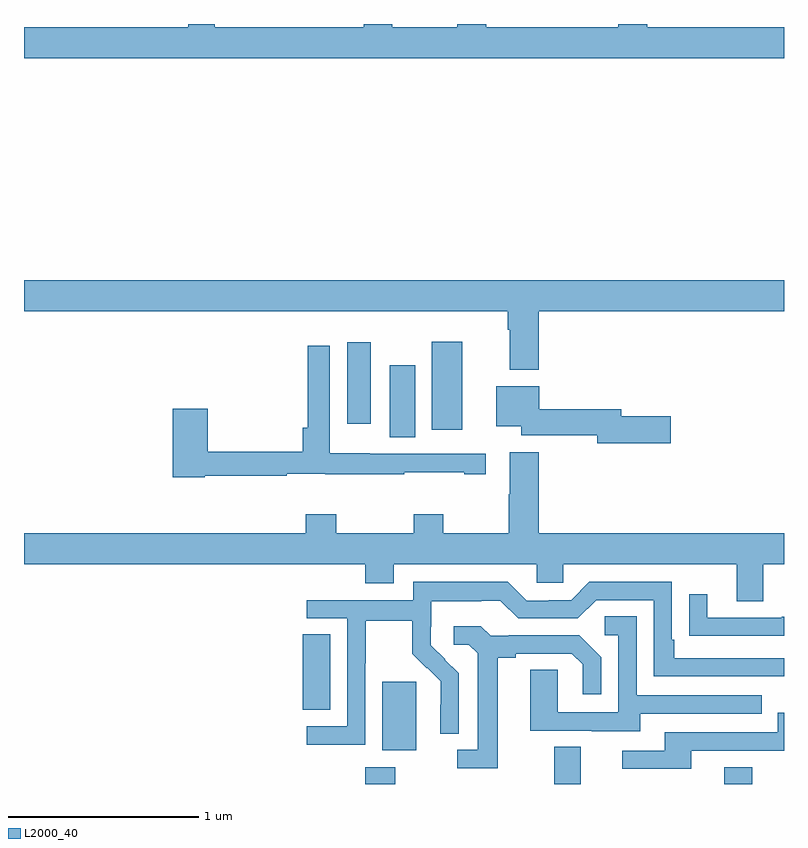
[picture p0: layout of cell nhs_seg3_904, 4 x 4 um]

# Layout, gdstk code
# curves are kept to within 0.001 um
import gdstk
lib = gdstk.Library(unit=1e-6, precision=1e-09)
def R(c, l, rs):  # rectangles x0, y0, x1, y1
    for r in rs: c.add(gdstk.rectangle(r[:2], r[2:], *l))
def P(c, l, *ps):  # polygons
    for p in ps: c.add(gdstk.Polygon(p, *l))
L2000_40 = (2000, 40)

nhs_seg3_904 = lib.new_cell('nhs_seg3_904')
R(nhs_seg3_904, L2000_40, [(158.795,726.4,158.955,726.487), (159.791,726.4,159.931,726.596), (160.685,726.4,160.833,726.487), (158.885,726.578,159.064,726.939), (158.468,726.79,158.611,727.187), (158.924,728.224,159.058,728.605), (159.146,728.265,159.307,728.728), (158.702,728.295,158.824,728.725)])
P(nhs_seg3_904, L2000_40, [(161,730.384),(160.279,730.384),(160.279,730.4),(160.127,730.4),(160.127,730.384),(159.434,730.384),(159.434,730.4),(159.281,730.4),(159.281,730.384),(158.937,730.384),(158.937,730.4),(158.789,730.4),(158.789,730.384),(158.005,730.384),(158.005,730.4),(157.865,730.4),(157.865,730.384),(157,730.384),(157,730.22),(161,730.22)],
  [(159.71,728.888),(161,728.888),(161,729.052),(157,729.052),(157,728.888),(159.545,728.888),(159.545,728.792),(159.557,728.792),(159.557,728.579),(159.71,728.579)],
  [(157.95,728.022),(158.384,728.022),(158.384,728.033),(158.586,728.033),(158.586,728.031),(159.002,728.031),(159.002,728.041),(159.317,728.041),(159.317,728.031),(159.43,728.031),(159.43,728.139),(158.82,728.139),(158.82,728.14),(158.61,728.14),(158.61,728.707),(158.494,728.707),(158.494,728.275),(158.468,728.275),(158.468,728.15),(157.967,728.15),(157.967,728.374),(157.784,728.374),(157.784,728.014),(157.95,728.014)],
  [(160.405,728.336),(160.144,728.336),(160.144,728.372),(159.712,728.372),(159.712,728.494),(159.485,728.494),(159.485,728.282),(159.618,728.282),(159.618,728.236),(160.016,728.236),(160.016,728.194),(160.405,728.194)],
  [(160.891,727.556),(161,727.556),(161,727.72),(159.71,727.72),(159.71,728.146),(159.557,728.146),(159.557,727.925),(159.55,727.925),(159.55,727.72),(159.207,727.72),(159.207,727.819),(159.052,727.819),(159.052,727.72),(158.643,727.72),(158.643,727.819),(158.483,727.819),(158.483,727.72),(157,727.72),(157,727.556),(158.795,727.556),(158.795,727.457),(158.947,727.457),(158.947,727.556),(159.699,727.556),(159.699,727.458),(159.837,727.458),(159.837,727.556),(160.751,727.556),(160.751,727.362),(160.891,727.362)],
  [(158.796,727.036),(158.799,727.036),(158.799,727.26),(159.043,727.26),(159.043,727.085),(159.12,727.008),(159.123,727.011),(159.194,726.941),(159.194,726.818),(159.192,726.818),(159.192,726.664),(159.288,726.664),(159.288,726.982),(159.142,727.13),(159.142,727.227),(159.144,727.227),(159.144,727.361),(159.407,727.361),(159.407,727.365),(159.507,727.365),(159.6,727.272),(159.915,727.272),(160.011,727.368),(160.314,727.368),(160.314,726.966),(161,726.966),(161,727.062),(160.423,727.062),(160.423,727.159),(160.41,727.159),(160.41,727.464),(159.975,727.464),(159.879,727.368),(159.761,727.368),(159.761,727.365),(159.645,727.365),(159.545,727.465),(159.048,727.465),(159.048,727.368),(158.487,727.368),(158.487,727.272),(158.7,727.272),(158.7,726.705),(158.487,726.705),(158.487,726.607),(158.796,726.607)],
  [(161,727.28),(160.987,727.28),(160.987,727.275),(160.597,727.275),(160.597,727.399),(160.501,727.399),(160.501,727.18),(160.603,727.18),(160.603,727.179),(161,727.179)],
  [(160.243,726.771),(160.883,726.771),(160.883,726.867),(160.224,726.867),(160.224,727.283),(160.056,727.283),(160.056,727.182),(160.128,727.182),(160.128,726.777),(159.81,726.777),(159.81,727.001),(159.665,727.001),(159.665,726.681),(159.989,726.681),(159.989,726.677),(160.243,726.677)],
  [(159.493,727.064),(159.589,727.064),(159.589,727.086),(159.884,727.086),(159.941,727.029),(159.941,726.873),(160.038,726.873),(160.038,727.066),(159.922,727.182),(159.55,727.182),(159.55,727.179),(159.456,727.179),(159.404,727.231),(159.261,727.231),(159.261,727.134),(159.342,727.134),(159.389,727.087),(159.389,726.579),(159.279,726.579),(159.279,726.483),(159.493,726.483)],
  [(160.513,726.576),(161,726.576),(161,726.775),(160.968,726.775),(160.968,726.672),(160.373,726.672),(160.373,726.576),(160.149,726.576),(160.149,726.48),(160.513,726.48)])

lib.write_gds('nhs_seg3_904.gds')
